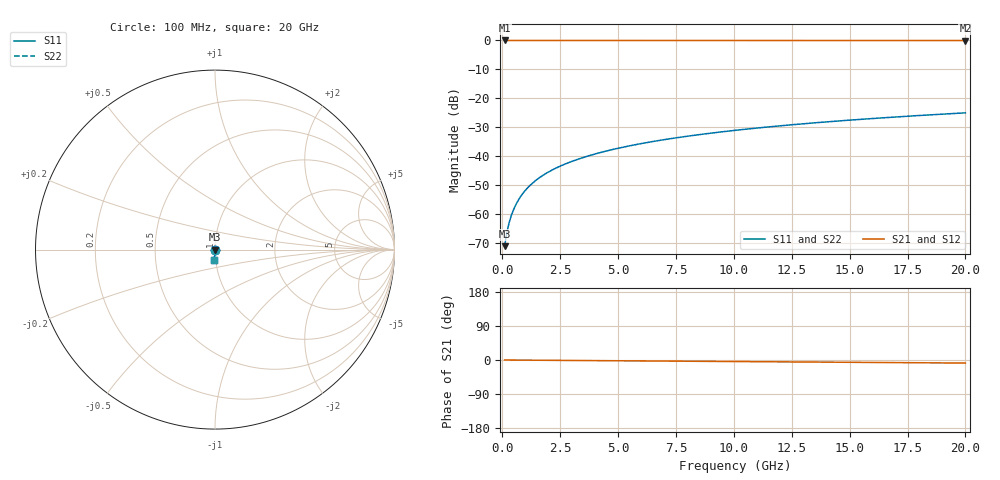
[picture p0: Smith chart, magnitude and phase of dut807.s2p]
! Touchstone file exported from HFSS 2026.1.0
!  File:  C:/ffzhzh/LocalFiles/Ansys_Project_Files/temp_train_TSV_807_1783184221_18472.aedt
!  Generated:  12:58:30 AM Jul  5, 2026
!  Design:  TSV
!  Project:  temp_train_TSV_807_1783184221_18472
! Variables:
!  h_bsmrdl = 2um
!  h_ox = 20um
!  h_rdl = 5um
!  h_sub = 79.48um
!  h_tmrdl = 5um
!  h_tsv = 79.48um
!  h_via = 3um
!  l_bsmrdl = 300um
!  l_sub = 417.9um
!  l_tmrdl = 200um
!  m_sub = 200um
!  pitch = 25.39um
!  r_tsv = 8.95um
!  s_tmrdl = 10um
!  w_bsmrdl = 18um
!  w_sub = 500um
!  w_tmrdl = 12um
!  x_tsv_center1 = 206um
!  x_tsv_center2 = 524um
!  x_tsv_center3 = 736um
!  x_tsv_center4 = 1054um
!  x_tsv_center5 = 1266um
!  x_tsv_center6 = 1584um
# GHz S MA R 50.000000
! Terminal data exported
! Port[1] = TSV1_1_T1
! Port[2] = TSV1_1_T2
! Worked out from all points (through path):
!   200 points, 100 MHz to 20 GHz, reference 50 ohm
!   highest |S21| = 0.00 dB at 100 MHz (marker M1); lowest = 0.0 dB at 20 GHz (marker M2)
!   group delay of S21, straight-line fit = 1.12 ps
!   lowest |S11| = -71.2 dB at 100 MHz (marker M3), VSWR 1.00, Z = 50 - j0.0222 ohm
!   |S11| at or under -10 dB: start of sweep to end of sweep
!   |S22| runs from -71.2 to -25.1 dB; largest |S21 - S12| = 2e-15
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0.1  0.0002757 -53.6  0.9998 -0.0  0.9998 -0.0  0.0002757 -53.6
! Gamma 0 0 0 0
! Port Impedance 50 0 50 0
0.2  0.0004846 -67.9  0.9998 -0.1  0.9998 -0.1  0.0004846 -67.9
0.3  0.0007161 -73.1  0.9998 -0.1  0.9998 -0.1  0.0007161 -73.1
0.4  0.000961 -75.6  0.9998 -0.2  0.9998 -0.2  0.000961 -75.6
0.5  0.001216 -77.2  0.9997 -0.2  0.9997 -0.2  0.001216 -77.2
0.7  0.001744 -79.3  0.9997 -0.3  0.9997 -0.3  0.001744 -79.3
0.8  0.002015 -80.1  0.9996 -0.3  0.9996 -0.3  0.002015 -80.1
1  0.002561 -81.4  0.9996 -0.4  0.9996 -0.4  0.002561 -81.4
1.2  0.00311 -82.5  0.9996 -0.5  0.9996 -0.5  0.00311 -82.5
1.4  0.00366 -83.3  0.9995 -0.6  0.9995 -0.6  0.00366 -83.3
1.7  0.004485 -84.3  0.9995 -0.7  0.9995 -0.7  0.004485 -84.3
2  0.005311 -85.1  0.9995 -0.8  0.9995 -0.8  0.005311 -85.1
2.7  0.007239 -86.4  0.9994 -1.1  0.9994 -1.1  0.007239 -86.4
3.5  0.00945 -87.3  0.9993 -1.4  0.9993 -1.4  0.00945 -87.3
4.2  0.01139 -88.0  0.9992 -1.7  0.9992 -1.7  0.01139 -88.0
5  0.01363 -88.6  0.9991 -2.0  0.9991 -2.0  0.01363 -88.6
6.8  0.01868 -89.8  0.9989 -2.8  0.9989 -2.8  0.01868 -89.8
8.3  0.0229 -90.7  0.9987 -3.4  0.9987 -3.4  0.0229 -90.7
10.1  0.02798 -91.7  0.9984 -4.1  0.9984 -4.1  0.02798 -91.7
13.4  0.03729 -93.3  0.998 -5.4  0.998 -5.4  0.03729 -93.3
16.7  0.04659 -94.9  0.9974 -6.7  0.9974 -6.7  0.04659 -94.9
20  0.05589 -96.4  0.9968 -8.1  0.9968 -8.1  0.05589 -96.4
